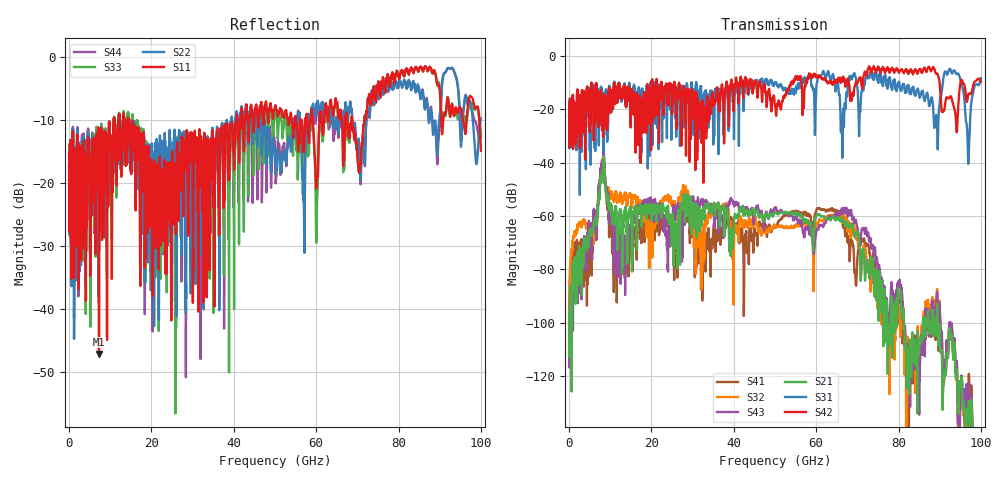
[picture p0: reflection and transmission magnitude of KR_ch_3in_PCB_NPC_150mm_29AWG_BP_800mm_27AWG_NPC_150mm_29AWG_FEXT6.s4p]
# GHz S RI R 45
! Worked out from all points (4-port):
!   4000 points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, 25 MHz to 100 GHz, reference 45 ohm
!   strongest paths, dB at 25 MHz, 25.02 GHz, 50.02 GHz, 75.03 GHz, 100 GHz:
!     S42: -22.2, -20.8, -18.7, -4.1, -9.8
!     S31: -22.2, -16.1, -10.1, -9.6, -8.4
!     S21: -108.2, -64.0, -58.6, -88.1, -156.4
!     S43: -116.6, -61.4, -56.9, -80.0, -148.5
!     S32: -98.5, -55.2, -64.2, -88.3, -174.6
!     S41: -104.5, -65.7, -64.0, -83.1, -150.5
!   lowest |S11| = -47.1 dB at 7.275 GHz (marker M1), VSWR 1.01, Z = 45.2 + j0.343 ohm
!   |S11| at or under -10 dB: start of sweep to 10.89 GHz; 14.43 GHz to 40.64 GHz (26.21 GHz wide, 95.2 % of centre); 68.73 GHz to 71.69 GHz (2.957 GHz wide, 4.21 % of centre)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
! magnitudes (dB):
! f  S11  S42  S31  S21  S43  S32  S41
! 25 MHz  -17.5  -22.2  -22.2  -108.2  -116.6  -98.5  -104.5
! 7.275 GHz  -47.1  -16.4  -25.6  -52.0  -47.8  -48.6  -49.6
! 12.55 GHz  -13.6  -12.7  -12.6  -57.9  -77.8  -51.6  -76.8
! 39.5 GHz  -10.4  -9.6  -10.9  -65.5  -54.1  -65.7  -61.9
! 92.53 GHz  -9.4  -15.2  -4.9  -103.0  -100.2  -101.8  -101.3
! 96.88 GHz  -7.5  -15.0  -38.3  -136.0  -132.0  -140.9  -127.6
! 100 GHz  -14.8  -9.8  -8.4  -156.4  -148.5  -174.6  -150.5
